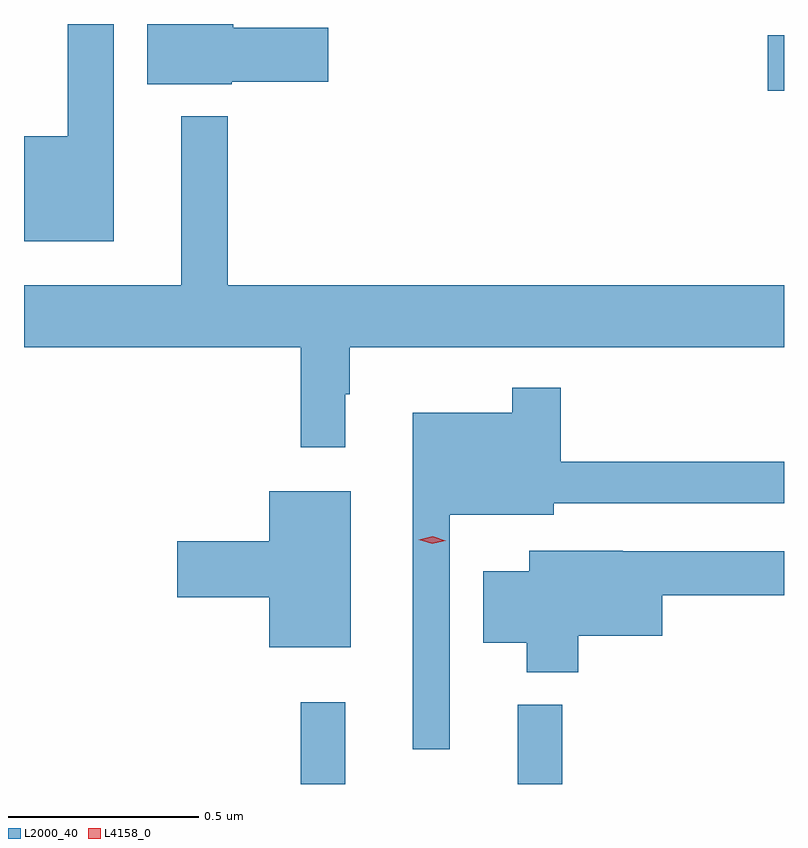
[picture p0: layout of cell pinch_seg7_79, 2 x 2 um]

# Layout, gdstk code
import gdstk
lib = gdstk.Library(unit=1e-6, precision=1e-09)
def R(c, l, rs):  # rectangles x0, y0, x1, y1
    for r in rs: c.add(gdstk.rectangle(r[:2], r[2:], *l))
def P(c, l, *ps):  # polygons
    for p in ps: c.add(gdstk.Polygon(p, *l))
L2000_40 = (2000, 40)
L4158_0 = (4158, 0)

pinch_seg7_79 = lib.new_cell('pinch_seg7_79')
R(pinch_seg7_79, L2000_40, [(985.063,1040.759,985.181,1040.974), (985.634,1040.759,985.751,1040.968), (986.292,1042.583,986.335,1042.73)])
P(pinch_seg7_79, L2000_40, [(984.571,1042.759),(984.45,1042.759),(984.45,1042.463),(984.335,1042.463),(984.335,1042.187),(984.571,1042.187)],
  [(984.882,1042.607),(985.135,1042.607),(985.135,1042.749),(984.886,1042.749),(984.886,1042.759),(984.659,1042.759),(984.659,1042.601),(984.882,1042.601)],
  [(985.18,1041.785),(985.192,1041.785),(985.192,1041.908),(986.335,1041.908),(986.335,1042.072),(984.871,1042.072),(984.871,1042.516),(984.749,1042.516),(984.749,1042.072),(984.335,1042.072),(984.335,1041.908),(985.063,1041.908),(985.063,1041.645),(985.18,1041.645)],
  [(985.455,1041.467),(985.729,1041.467),(985.729,1041.498),(986.335,1041.498),(986.335,1041.607),(985.748,1041.607),(985.748,1041.802),(985.62,1041.802),(985.62,1041.736),(985.358,1041.736),(985.358,1040.85),(985.455,1040.85)],
  [(985.195,1041.529),(984.98,1041.529),(984.98,1041.398),(984.738,1041.398),(984.738,1041.251),(984.98,1041.251),(984.98,1041.119),(985.195,1041.119)],
  [(985.793,1041.149),(986.014,1041.149),(986.014,1041.256),(986.335,1041.256),(986.335,1041.372),(985.91,1041.372),(985.91,1041.373),(985.664,1041.373),(985.664,1041.319),(985.544,1041.319),(985.544,1041.131),(985.658,1041.131),(985.658,1041.053),(985.793,1041.053)])
P(pinch_seg7_79, L4158_0, [(985.409,1041.391),(985.374,1041.402),(985.373,1041.402),(985.374,1041.402),(985.41,1041.411),(985.445,1041.399),(985.445,1041.399),(985.445,1041.399)])

lib.write_gds('pinch_seg7_79.gds')
